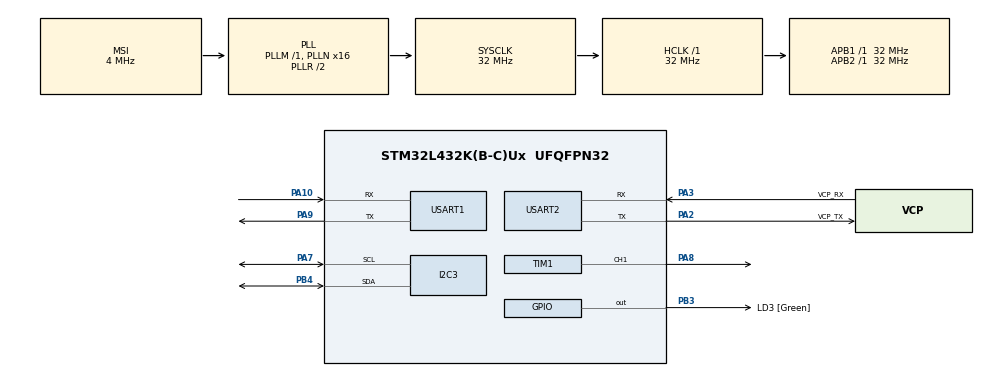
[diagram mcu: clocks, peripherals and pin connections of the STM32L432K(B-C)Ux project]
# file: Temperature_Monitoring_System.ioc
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I2C3.Timing=0x00707CBB
Mcu.Family=STM32L4
Mcu.Name=STM32L432K(B-C)Ux
Mcu.Package=UFQFPN32
NVIC.PriorityGroup=NVIC_PRIORITYGROUP_4
NVIC.USART1_IRQn=true\:0\:0\:false\:false\:true\:true\:true
NVIC.USART2_IRQn=true\:0\:0\:false\:false\:true\:true\:true
PA0.GPIO_Label=MCO [High speed clock in]
PA0.Mode=HSE-External-Clock-Source-for-LittleOrca
PA0.Signal=RCC_CK_IN
PA10.Mode=Asynchronous
PA10.Signal=USART1_RX
PA13\ (JTMS-SWDIO).GPIO_Label=SWDIO
PA13\ (JTMS-SWDIO).Mode=Serial_Wire
PA13\ (JTMS-SWDIO).Signal=SYS_JTMS-SWDIO
PA14\ (JTCK-SWCLK).GPIO_Label=SWCLK
PA14\ (JTCK-SWCLK).Mode=Serial_Wire
PA14\ (JTCK-SWCLK).Signal=SYS_JTCK-SWCLK
PA2.GPIO_Label=VCP_TX
PA2.Mode=Asynchronous
PA2.Signal=USART2_TX
PA3.GPIO_Label=VCP_RX
PA3.Mode=Asynchronous
PA3.Signal=USART2_RX
PA7.Mode=I2C
PA7.Signal=I2C3_SCL
PA8.Signal=S_TIM1_CH1
PA9.Mode=Asynchronous
PA9.Signal=USART1_TX
PB3\ (JTDO-TRACESWO).GPIO_Label=LD3 [Green]
PB3\ (JTDO-TRACESWO).Signal=GPIO_Output
PB4\ (NJTRST).Mode=I2C
PB4\ (NJTRST).Signal=I2C3_SDA
PC14-OSC32_IN\ (PC14).Mode=LSE-External-Oscillator
PC14-OSC32_IN\ (PC14).Signal=RCC_OSC32_IN
PC15-OSC32_OUT\ (PC15).Mode=LSE-External-Oscillator
PC15-OSC32_OUT\ (PC15).Signal=RCC_OSC32_OUT
ProjectManager.HeapSize=0x200
ProjectManager.StackSize=0x400
ProjectManager.TargetToolchain=STM32CubeIDE
RCC.AHBFreq_Value=32000000
RCC.APB1Freq_Value=32000000
RCC.APB1TimFreq_Value=32000000
RCC.APB2Freq_Value=32000000
RCC.APB2TimFreq_Value=32000000
RCC.CortexFreq_Value=32000000
RCC.HCLKFreq_Value=32000000
RCC.HSE_VALUE=8000000
RCC.HSI16_VALUE=16000000
RCC.HSI48_VALUE=48000000
RCC.HSI_VALUE=16000000
RCC.MSI_VALUE=4000000
RCC.PLLMUL=RCC_PLLMUL_4
RCC.PLLN=16
RCC.SYSCLKFreq_VALUE=32000000
RCC.SYSCLKSource=RCC_SYSCLKSOURCE_PLLCLK
RCC.VCOOutputFreq_Value=64000000
SH.S_TIM1_CH1.0=TIM1_CH1,PWM Generation1 CH1
TIM1.Channel-PWM\ Generation1\ CH1=TIM_CHANNEL_1
TIM1.Period=1000
TIM1.Prescaler=319
USART1.VirtualMode-Asynchronous=VM_ASYNC
USART2.VirtualMode-Asynchronous=VM_ASYNC
board=NUCLEO-L432KC

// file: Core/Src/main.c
/* USER CODE BEGIN Header */
/**
  ******************************************************************************
  * @file           : main.c
  * @brief          : Main program body
  ******************************************************************************
  * @attention
  *
  * Copyright (c) 2022 STMicroelectronics.
  * All rights reserved.
  *
  * This software is licensed under terms that can be found in the LICENSE file
  * in the root directory of this software component.
  * If no LICENSE file comes with this software, it is provided AS-IS.
  *
  ******************************************************************************
  */
/* USER CODE END Header */
#include "main.h"

/* USER CODE BEGIN Includes */
#include <stdio.h>
#include <stdlib.h>

/* USER CODE END Includes */

I2C_HandleTypeDef hi2c3;

TIM_HandleTypeDef htim1;

UART_HandleTypeDef huart1;
UART_HandleTypeDef huart2;

/* USER CODE BEGIN PV */
volatile uint8_t started = 0;
volatile float criticalTemp = 30;
uint8_t received_Temp[5] = {0};
uint8_t currentChar[1] = {0};
uint8_t currentIdx = 0;

/* USER CODE END PV */

void SystemClock_Config(void);
static void MX_GPIO_Init(void);
static void MX_USART2_UART_Init(void);
static void MX_TIM1_Init(void);
static void MX_I2C3_Init(void);
static void MX_USART1_UART_Init(void);

int main(void)
{

  /* MCU Configuration--------------------------------------------------------*/

  /* Reset of all peripherals, Initializes the Flash interface and the Systick. */
  HAL_Init();

  /* Configure the system clock */
  SystemClock_Config();

  /* Initialize all configured peripherals */
  MX_GPIO_Init();
  MX_USART2_UART_Init();
  MX_TIM1_Init();
  MX_I2C3_Init();
  MX_USART1_UART_Init();
  /* USER CODE BEGIN 2 */

  HAL_UART_Receive_IT(&huart2,(uint8_t *)received_Temp, 5);

  // Start the Timer for the Buzzer
  HAL_TIM_Base_Start(&htim1);
  HAL_TIM_PWM_Start(&htim1, TIM_CHANNEL_1);
  TIM1->CCR1 = 500;
  __HAL_TIM_SET_PRESCALER(&htim1, 0);

  // Check if the RTC module is ready
  if (HAL_I2C_IsDeviceReady(&hi2c3, 0xD0, 10, HAL_MAX_DELAY) == HAL_OK)
  {
	  for (int i = 1; i<=10;i++) // indicator of ready device
	  {
	  HAL_GPIO_TogglePin(GPIOB, GPIO_PIN_3);
	  HAL_Delay(250);
	  }
  }

  // buffers for time and date
  uint8_t secbuffer[2], minbuffer[2], hourbuffer[2];
  uint8_t daybuffer[2], datebuffer[2], monthbuffer[2], yearbuffer[2];

  // seconds
  secbuffer[0] = 0x00; //register address
  secbuffer[1] = 0x00; //data to put in register --> 0 sec
  HAL_I2C_Master_Transmit(&hi2c3, 0xD0, secbuffer, 2, 10);

   // minutes
  minbuffer[0] = 0x01; //register address
  minbuffer[1] = 0x00; //data to put in register --> 40 min
  HAL_I2C_Master_Transmit(&hi2c3, 0xD0, minbuffer, 2, 10);
  // hours
  hourbuffer[0] = 0x02; //register address
  hourbuffer[1] = 0x15; //data to put in register  --> 11 am
  HAL_I2C_Master_Transmit(&hi2c3, 0xD0, hourbuffer, 2, 10);

  // Set day to 1 to represent Monday
  daybuffer[0] = 0x03; //register address
  daybuffer[1] = 0x01; //data to put in register  --> 11 am
  HAL_I2C_Master_Transmit(&hi2c3, 0xD0, daybuffer, 2, 10);

  // Set date to the 11th
  datebuffer[0] = 0x04; //register address
  datebuffer[1] = 0x18; //data to put in register  --> 11 am
  HAL_I2C_Master_Transmit(&hi2c3, 0xD0, datebuffer, 2, 10);

  // Set month to April
  monthbuffer[0] = 0x05; //register address
  monthbuffer[1] = 0x05; //data to put in register  --> 11 am
  HAL_I2C_Master_Transmit(&hi2c3, 0xD0, monthbuffer, 2, 10);

  // Set year to 22
  yearbuffer[0] = 0x06; //register address
  yearbuffer[1] = 0x22; //data to put in register  --> 11 am
  HAL_I2C_Master_Transmit(&hi2c3, 0xD0, yearbuffer, 2, 10);

  uint8_t h1,h2,m1,m2,s1,s2, day1, day2, month1, month2, year1, year2;
  uint8_t dayname[10] = "";

  uint8_t tempMSB[2], tempLSB[2], busy[2], control[2];
  char uartBuf[100] = "";

  busy[0] = 0x0f;
  control[0] = 0x0e;
  control[1] = 0x38;
  tempMSB[0] = 0x11;
  tempLSB[0] = 0x12;

  HAL_I2C_Master_Transmit(&hi2c3, 0xD0, control, 2, 10);
  HAL_Delay(50);

  /* USER CODE END 2 */

  /* Infinite loop */
  /* USER CODE BEGIN WHILE */
  while (1)
  {

	  //send seconds register address 00h to read from
	  HAL_I2C_Master_Transmit(&hi2c3, 0xD0, secbuffer, 1, 10);
	  //read data of register 00h to secbuffer[1]
	  HAL_I2C_Master_Receive(&hi2c3, 0xD1, secbuffer+1, 1, 10);
	  //prepare UART output
	  s1 = secbuffer[1] >> 4;
	  s2 = secbuffer[1] & 0x0F;
	  HAL_I2C_Master_Transmit(&hi2c3, 0xD0, minbuffer, 1, 10);
	  HAL_I2C_Master_Receive(&hi2c3, 0xD1, minbuffer+1, 1, 10);
	  m1 = minbuffer[1] >> 4;
	  m2 = minbuffer[1] & 0x0F;
	  HAL_I2C_Master_Transmit(&hi2c3, 0xD0, hourbuffer, 1, 10);
	  HAL_I2C_Master_Receive(&hi2c3, 0xD1, hourbuffer+1, 1, 10);
	  h1 = (hourbuffer[1] >> 4) & 1;
	  h2 = hourbuffer[1] & 0x0F;

	  HAL_I2C_Master_Transmit(&hi2c3, 0xD0, daybuffer, 1, 10);
	  HAL_I2C_Master_Receive(&hi2c3, 0xD1, daybuffer+1, 1, 10);

	  HAL_I2C_Master_Transmit(&hi2c3, 0xD0, datebuffer, 1, 10);
	  HAL_I2C_Master_Receive(&hi2c3, 0xD1, datebuffer+1, 1, 10);

	  day1 = (datebuffer[1] >> 4) & 3;
	  day2 = datebuffer[1] & 0xf;

	  HAL_I2C_Master_Transmit(&hi2c3, 0xD0, monthbuffer, 1, 10);
	  HAL_I2C_Master_Receive(&hi2c3, 0xD1, monthbuffer+1, 1, 10);

	  month1 = (monthbuffer[1] >> 4) & 1;
	  month2 = monthbuffer[1] & 0xf;

	  HAL_I2C_Master_Transmit(&hi2c3, 0xD0, yearbuffer, 1, 10);
	  HAL_I2C_Master_Receive(&hi2c3, 0xD1, yearbuffer+1, 1, 10);

	  year1 = (yearbuffer[1] >> 4 & 15);
	  year2 = (yearbuffer[1] & 15);

	  HAL_I2C_Master_Transmit(&hi2c3, 0xD0, busy, 1, 10);
	  HAL_I2C_Master_Receive(&hi2c3, 0xD1, busy+1, 1, 10);

	  // if not busy read the temperature and create a new conversion
	  if(!(busy[1] & 4))
	  {
		  HAL_I2C_Master_Transmit(&hi2c3, 0xD0, tempMSB, 1, 10);
		  HAL_I2C_Master_Receive(&hi2c3, 0xD1, tempMSB+1, 1, 10);

		  HAL_I2C_Master_Transmit(&hi2c3, 0xD0, tempLSB, 1, 10);
		  HAL_I2C_Master_Receive(&hi2c3, 0xD1, tempLSB+1, 1, 10);

		  HAL_I2C_Master_Transmit(&hi2c3, 0xD0, control, 2, 10);

		  signed char tempDigit = tempMSB[1];
		  char tempDigitChars[10];
		  itoa(tempDigit, tempDigitChars, 10);
		  char tempFraction[2];

		  switch(tempLSB[1] >> 6)
		  {
		  case 0:
			  strcpy(tempFraction, "00");
			  break;
		  case 1:
			  strcpy(tempFraction, "25");
			  break;
		  case 2:
			  strcpy(tempFraction, "50");
		  case 3:
			  strcpy(tempFraction, "75");
		  }

		  if(tempDigit >= criticalTemp)
		  {
				__HAL_TIM_SET_PRESCALER(&htim1, 16);
		  }
		  else
		  {
				__HAL_TIM_SET_PRESCALER(&htim1, 0);

		  }

		  sprintf(uartBuf, "~Timestamp: %d%d/%d%d/20%d%d %d%d:%d%d:%d%d Temperature: %s.%s \r\n#", day1, day2, month1, month2, year1, year2, h1,h2,m1,m2,s1,s2, tempDigitChars, tempFraction);

		  HAL_UART_Transmit(&huart1, (uint8_t *)uartBuf, sizeof(uartBuf), 100);

	  }
	  for(int i = 0; i < 5;i++)
		  HAL_Delay(1000);

    /* USER CODE END WHILE */

  }
}

void SystemClock_Config(void)
{
  RCC_OscInitTypeDef RCC_OscInitStruct = {0};
  RCC_ClkInitTypeDef RCC_ClkInitStruct = {0};

  /** Configure the main internal regulator output voltage
  */
  if (HAL_PWREx_ControlVoltageScaling(PWR_REGULATOR_VOLTAGE_SCALE1) != HAL_OK)
  {
    Error_Handler();
  }
  /** Configure LSE Drive Capability
  */
  HAL_PWR_EnableBkUpAccess();
  __HAL_RCC_LSEDRIVE_CONFIG(RCC_LSEDRIVE_LOW);
  /** Initializes the RCC Oscillators according to the specified parameters
  * in the RCC_OscInitTypeDef structure.
  */
  RCC_OscInitStruct.OscillatorType = RCC_OSCILLATORTYPE_LSE|RCC_OSCILLATORTYPE_MSI;
  RCC_OscInitStruct.LSEState = RCC_LSE_ON;
  RCC_OscInitStruct.MSIState = RCC_MSI_ON;
  RCC_OscInitStruct.MSICalibrationValue = 0;
  RCC_OscInitStruct.MSIClockRange = RCC_MSIRANGE_6;
  RCC_OscInitStruct.PLL.PLLState = RCC_PLL_ON;
  RCC_OscInitStruct.PLL.PLLSource = RCC_PLLSOURCE_MSI;
  RCC_OscInitStruct.PLL.PLLM = 1;
  RCC_OscInitStruct.PLL.PLLN = 16;
  RCC_OscInitStruct.PLL.PLLP = RCC_PLLP_DIV7;
  RCC_OscInitStruct.PLL.PLLQ = RCC_PLLQ_DIV2;
  RCC_OscInitStruct.PLL.PLLR = RCC_PLLR_DIV2;
  if (HAL_RCC_OscConfig(&RCC_OscInitStruct) != HAL_OK)
  {
    Error_Handler();
  }
  /** Initializes the CPU, AHB and APB buses clocks
  */
  RCC_ClkInitStruct.ClockType = RCC_CLOCKTYPE_HCLK|RCC_CLOCKTYPE_SYSCLK
                              |RCC_CLOCKTYPE_PCLK1|RCC_CLOCKTYPE_PCLK2;
  RCC_ClkInitStruct.SYSCLKSource = RCC_SYSCLKSOURCE_PLLCLK;
  RCC_ClkInitStruct.AHBCLKDivider = RCC_SYSCLK_DIV1;
  RCC_ClkInitStruct.APB1CLKDivider = RCC_HCLK_DIV1;
  RCC_ClkInitStruct.APB2CLKDivider = RCC_HCLK_DIV1;

  if (HAL_RCC_ClockConfig(&RCC_ClkInitStruct, FLASH_LATENCY_1) != HAL_OK)
  {
    Error_Handler();
  }
  /** Enable MSI Auto calibration
  */
  HAL_RCCEx_EnableMSIPLLMode();
}

static void MX_I2C3_Init(void)
{

  hi2c3.Instance = I2C3;
  hi2c3.Init.Timing = 0x00707CBB;
  hi2c3.Init.OwnAddress1 = 0;
  hi2c3.Init.AddressingMode = I2C_ADDRESSINGMODE_7BIT;
  hi2c3.Init.DualAddressMode = I2C_DUALADDRESS_DISABLE;
  hi2c3.Init.OwnAddress2 = 0;
  hi2c3.Init.OwnAddress2Masks = I2C_OA2_NOMASK;
  hi2c3.Init.GeneralCallMode = I2C_GENERALCALL_DISABLE;
  hi2c3.Init.NoStretchMode = I2C_NOSTRETCH_DISABLE;
  if (HAL_I2C_Init(&hi2c3) != HAL_OK)
  {
    Error_Handler();
  }
  /** Configure Analogue filter
  */
  if (HAL_I2CEx_ConfigAnalogFilter(&hi2c3, I2C_ANALOGFILTER_ENABLE) != HAL_OK)
  {
    Error_Handler();
  }
  /** Configure Digital filter
  */
  if (HAL_I2CEx_ConfigDigitalFilter(&hi2c3, 0) != HAL_OK)
  {
    Error_Handler();
  }

}

static void MX_TIM1_Init(void)
{

  TIM_MasterConfigTypeDef sMasterConfig = {0};
  TIM_OC_InitTypeDef sConfigOC = {0};
  TIM_BreakDeadTimeConfigTypeDef sBreakDeadTimeConfig = {0};

  htim1.Instance = TIM1;
  htim1.Init.Prescaler = 319;
  htim1.Init.CounterMode = TIM_COUNTERMODE_UP;
  htim1.Init.Period = 1000;
  htim1.Init.ClockDivision = TIM_CLOCKDIVISION_DIV1;
  htim1.Init.RepetitionCounter = 0;
  htim1.Init.AutoReloadPreload = TIM_AUTORELOAD_PRELOAD_DISABLE;
  if (HAL_TIM_PWM_Init(&htim1) != HAL_OK)
  {
    Error_Handler();
  }
  sMasterConfig.MasterOutputTrigger = TIM_TRGO_RESET;
  sMasterConfig.MasterOutputTrigger2 = TIM_TRGO2_RESET;
  sMasterConfig.MasterSlaveMode = TIM_MASTERSLAVEMODE_DISABLE;
  if (HAL_TIMEx_MasterConfigSynchronization(&htim1, &sMasterConfig) != HAL_OK)
  {
    Error_Handler();
  }
  sConfigOC.OCMode = TIM_OCMODE_PWM1;
  sConfigOC.Pulse = 0;
  sConfigOC.OCPolarity = TIM_OCPOLARITY_HIGH;
  sConfigOC.OCNPolarity = TIM_OCNPOLARITY_HIGH;
  sConfigOC.OCFastMode = TIM_OCFAST_DISABLE;
  sConfigOC.OCIdleState = TIM_OCIDLESTATE_RESET;
  sConfigOC.OCNIdleState = TIM_OCNIDLESTATE_RESET;
  if (HAL_TIM_PWM_ConfigChannel(&htim1, &sConfigOC, TIM_CHANNEL_1) != HAL_OK)
  {
    Error_Handler();
  }
  sBreakDeadTimeConfig.OffStateRunMode = TIM_OSSR_DISABLE;
  sBreakDeadTimeConfig.OffStateIDLEMode = TIM_OSSI_DISABLE;
  sBreakDeadTimeConfig.LockLevel = TIM_LOCKLEVEL_OFF;
  sBreakDeadTimeConfig.DeadTime = 0;
  sBreakDeadTimeConfig.BreakState = TIM_BREAK_DISABLE;
  sBreakDeadTimeConfig.BreakPolarity = TIM_BREAKPOLARITY_HIGH;
  sBreakDeadTimeConfig.BreakFilter = 0;
  sBreakDeadTimeConfig.Break2State = TIM_BREAK2_DISABLE;
  sBreakDeadTimeConfig.Break2Polarity = TIM_BREAK2POLARITY_HIGH;
  sBreakDeadTimeConfig.Break2Filter = 0;
  sBreakDeadTimeConfig.AutomaticOutput = TIM_AUTOMATICOUTPUT_DISABLE;
  if (HAL_TIMEx_ConfigBreakDeadTime(&htim1, &sBreakDeadTimeConfig) != HAL_OK)
  {
    Error_Handler();
  }
  HAL_TIM_MspPostInit(&htim1);

}

static void MX_USART1_UART_Init(void)
{

  huart1.Instance = USART1;
  huart1.Init.BaudRate = 115200;
  huart1.Init.WordLength = UART_WORDLENGTH_8B;
  huart1.Init.StopBits = UART_STOPBITS_1;
  huart1.Init.Parity = UART_PARITY_NONE;
  huart1.Init.Mode = UART_MODE_TX_RX;
  huart1.Init.HwFlowCtl = UART_HWCONTROL_NONE;
  huart1.Init.OverSampling = UART_OVERSAMPLING_16;
  huart1.Init.OneBitSampling = UART_ONE_BIT_SAMPLE_DISABLE;
  huart1.AdvancedInit.AdvFeatureInit = UART_ADVFEATURE_NO_INIT;
  if (HAL_UART_Init(&huart1) != HAL_OK)
  {
    Error_Handler();
  }

}

static void MX_USART2_UART_Init(void)
{

  huart2.Instance = USART2;
  huart2.Init.BaudRate = 115200;
  huart2.Init.WordLength = UART_WORDLENGTH_8B;
  huart2.Init.StopBits = UART_STOPBITS_1;
  huart2.Init.Parity = UART_PARITY_NONE;
  huart2.Init.Mode = UART_MODE_TX_RX;
  huart2.Init.HwFlowCtl = UART_HWCONTROL_NONE;
  huart2.Init.OverSampling = UART_OVERSAMPLING_16;
  huart2.Init.OneBitSampling = UART_ONE_BIT_SAMPLE_DISABLE;
  huart2.AdvancedInit.AdvFeatureInit = UART_ADVFEATURE_NO_INIT;
  if (HAL_UART_Init(&huart2) != HAL_OK)
  {
    Error_Handler();
  }

}

static void MX_GPIO_Init(void)
{
  GPIO_InitTypeDef GPIO_InitStruct = {0};

  /* GPIO Ports Clock Enable */
  __HAL_RCC_GPIOC_CLK_ENABLE();
  __HAL_RCC_GPIOA_CLK_ENABLE();
  __HAL_RCC_GPIOB_CLK_ENABLE();

  /*Configure GPIO pin Output Level */
  HAL_GPIO_WritePin(LD3_GPIO_Port, LD3_Pin, GPIO_PIN_RESET);

  /*Configure GPIO pin : LD3_Pin */
  GPIO_InitStruct.Pin = LD3_Pin;
  GPIO_InitStruct.Mode = GPIO_MODE_OUTPUT_PP;
  GPIO_InitStruct.Pull = GPIO_NOPULL;
  GPIO_InitStruct.Speed = GPIO_SPEED_FREQ_LOW;
  HAL_GPIO_Init(LD3_GPIO_Port, &GPIO_InitStruct);

}

/* USER CODE BEGIN 4 */
void HAL_UART_RxCpltCallback(UART_HandleTypeDef *huart)
{
	if(huart->Instance  == USART2)
	{
		criticalTemp = atof((const char*)received_Temp);
		HAL_UART_Receive_IT(&huart2, (uint8_t *) received_Temp, 5);
	}
}
/* USER CODE END 4 */

void Error_Handler(void)
{
  __disable_irq();
  while (1)
  {
  }
}
